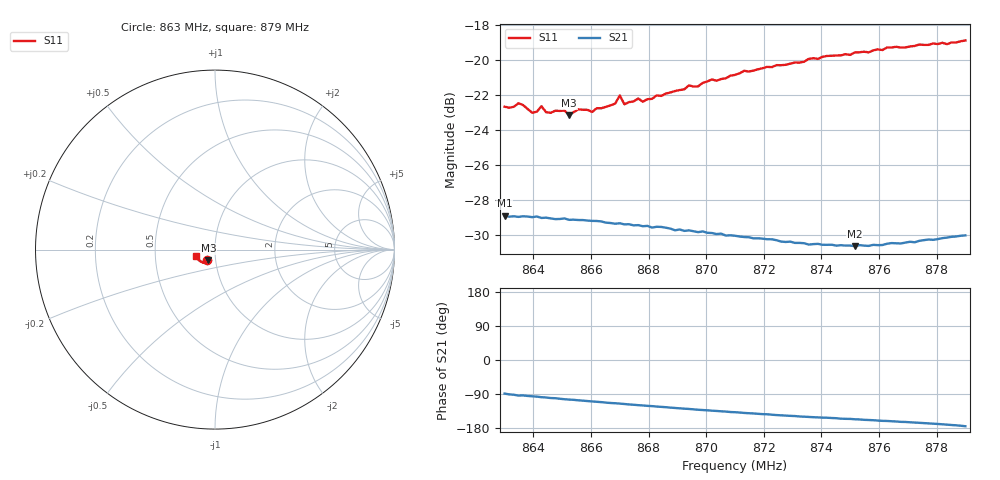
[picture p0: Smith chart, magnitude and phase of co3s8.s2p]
# HZ S RI R 50
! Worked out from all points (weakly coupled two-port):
!   101 points, 863 MHz to 879 MHz, reference 50 ohm
!   highest |S21| = -28.91 dB at 863 MHz (marker M1); lowest = -30.7 dB at 875.16 MHz (marker M2)
!   lowest |S11| = -23.2 dB at 865.24 MHz (marker M3), VSWR 1.15, Z = 46.2 - j5.47 ohm
!   |S11| at or under -10 dB: start of sweep to end of sweep
!   S12 and S22 are empty: the file has one direction only
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8.63e8  -0.0436 -0.0591  0.000886 -0.0358  0 0  0 0
8.6348e8  -0.0453 -0.06  -0.00245 -0.0355  0 0  0 0
8.6396e8  -0.0395 -0.0584  -0.00358 -0.0353  0 0  0 0
8.6428e8  -0.0426 -0.0601  -0.00503 -0.0349  0 0  0 0
8.6444e8  -0.0407 -0.058  -0.00547 -0.0349  0 0  0 0
8.6508e8  -0.0384 -0.0605  -0.00822 -0.0342  0 0  0 0
8.6524e8  -0.0366 -0.0589  -0.00871 -0.0337  0 0  0 0
8.6572e8  -0.04 -0.0598  -0.0103 -0.0332  0 0  0 0
8.6604e8  -0.0373 -0.0603  -0.0114 -0.0327  0 0  0 0
8.6668e8  -0.0383 -0.0634  -0.0136 -0.0313  0 0  0 0
8.6684e8  -0.0381 -0.0645  -0.0139 -0.031  0 0  0 0
8.67e8  -0.0472 -0.0635  -0.0144 -0.0309  0 0  0 0
8.6716e8  -0.0381 -0.0641  -0.0149 -0.0304  0 0  0 0
8.6764e8  -0.04 -0.0664  -0.0164 -0.0294  0 0  0 0
8.678e8  -0.039 -0.0651  -0.0167 -0.029  0 0  0 0
8.6844e8  -0.0399 -0.068  -0.0184 -0.0277  0 0  0 0
8.694e8  -0.0457 -0.0711  -0.0205 -0.0252  0 0  0 0
8.71e8  -0.0538 -0.0728  -0.0232 -0.0211  0 0  0 0
8.7372e8  -0.0725 -0.0704  -0.026 -0.0144  0 0  0 0
8.7516e8  -0.0832 -0.064  -0.0268 -0.0117  0 0  0 0
8.7644e8  -0.0926 -0.0565  -0.0284 -0.00943  0 0  0 0
8.79e8  -0.1078 -0.0359  -0.0313 -0.00284  0 0  0 0
